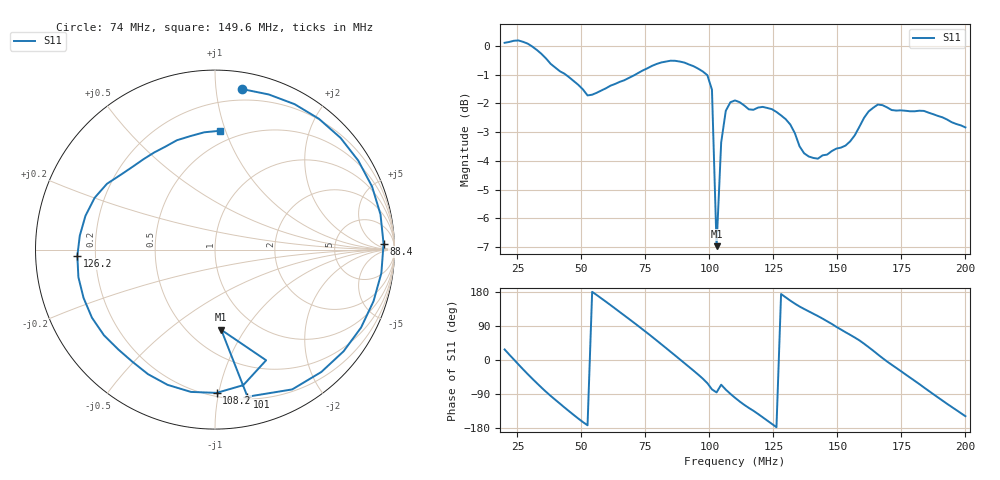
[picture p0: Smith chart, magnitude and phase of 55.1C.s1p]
# HZ S RI R 50
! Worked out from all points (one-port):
!   101 points, 20 MHz to 200 MHz, reference 50 ohm
!   lowest |S11| = -7.0 dB at 102.8 MHz (marker M1), VSWR 2.62, Z = 35.3 - j39.5 ohm
!   |S11| at or under -10 dB: nowhere
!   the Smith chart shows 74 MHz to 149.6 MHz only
!   S11 on the Smith chart (normalised r, x): 74 MHz: 0.12, +1.18; 88.4 MHz: 25, +14; 101 MHz: 0.22, -1.22; 108.2 MHz: 0.22, -0.99; 126.2 MHz: 0.13, -0.02; 149.6 MHz: 0.41, +0.96
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2e7  0.8959 0.4731
2.54e7  1.002 -0.2071
3.26e7  0.4761 -0.8617
3.8e7  -0.0772 -0.9279
4.34e7  -0.5171 -0.7304
4.88e7  -0.7733 -0.3668
5.42e7  -0.8228 0.00243
5.96e7  -0.7574 0.3731
6.5e7  -0.5154 0.6964
7.4e7  0.1527 0.8941
8.12e7  0.6992 0.6227
8.84e7  0.9392 0.0325
9.56e7  0.7167 -0.5662
1.01e8  0.181 -0.8196
1.028e8  0.0348 -0.4469
1.046e8  0.2848 -0.6167
1.082e8  0.00944 -0.7982
1.1e8  -0.1342 -0.7929
1.19e8  -0.6186 -0.4774
1.262e8  -0.767 -0.0345
1.334e8  -0.6022 0.3665
1.496e8  0.03 0.6622
1.55e8  0.2732 0.6255
1.604e8  0.5481 0.5116
1.676e8  0.7859 0.0712
1.784e8  0.5306 -0.5579
1.892e8  -0.11 -0.7478
2e8  -0.6142 -0.379
